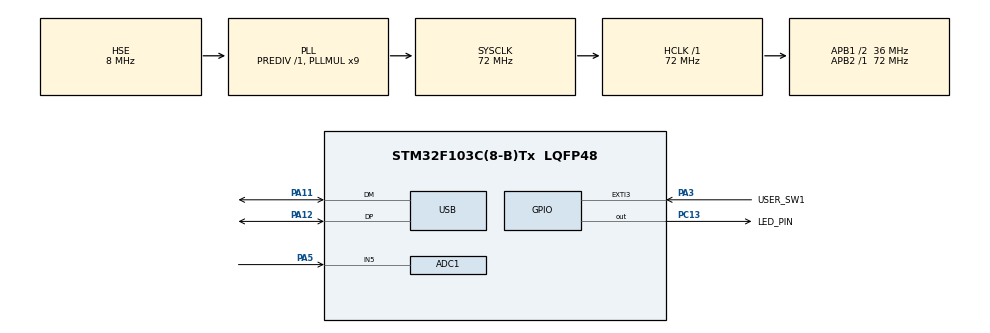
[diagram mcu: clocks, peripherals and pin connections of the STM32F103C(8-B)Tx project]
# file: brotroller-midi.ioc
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ADC1.Channel-1\#ChannelRegularConversion=ADC_CHANNEL_5
ADC1.ContinuousConvMode=DISABLE
ADC1.DataAlign=ADC_DATAALIGN_RIGHT
ADC1.EnableRegularConversion=ENABLE
ADC1.ExternalTrigConv=ADC_EXTERNALTRIGCONV_T3_TRGO
ADC1.NbrOfConversionFlag=1
ADC1.Rank-1\#ChannelRegularConversion=1
ADC1.SamplingTime-1\#ChannelRegularConversion=ADC_SAMPLETIME_239CYCLES_5
ADC1.master=1
Dma.ADC1.0.Direction=DMA_PERIPH_TO_MEMORY
Dma.ADC1.0.Instance=DMA1_Channel1
Dma.ADC1.0.MemDataAlignment=DMA_MDATAALIGN_HALFWORD
Dma.ADC1.0.MemInc=DMA_MINC_ENABLE
Dma.ADC1.0.Mode=DMA_CIRCULAR
Dma.ADC1.0.PeriphDataAlignment=DMA_PDATAALIGN_HALFWORD
Dma.ADC1.0.PeriphInc=DMA_PINC_DISABLE
Dma.ADC1.0.Priority=DMA_PRIORITY_LOW
Dma.Request0=ADC1
Mcu.Family=STM32F1
Mcu.Name=STM32F103C(8-B)Tx
Mcu.Package=LQFP48
NVIC.ADC1_2_IRQn=true\:0\:0\:false\:false\:true\:true\:true
NVIC.DMA1_Channel1_IRQn=true\:0\:0\:false\:false\:true\:false\:true
NVIC.EXTI3_IRQn=true\:0\:0\:false\:false\:true\:true\:true
NVIC.PriorityGroup=NVIC_PRIORITYGROUP_4
NVIC.TIM3_IRQn=true\:0\:0\:false\:false\:true\:true\:true
NVIC.USB_LP_CAN1_RX0_IRQn=true\:0\:0\:false\:false\:true\:false\:true
PA11.Mode=Device
PA11.Signal=USB_DM
PA12.Mode=Device
PA12.Signal=USB_DP
PA13.Mode=Trace_Asynchronous_SW
PA13.Signal=SYS_JTMS-SWDIO
PA14.Mode=Trace_Asynchronous_SW
PA14.Signal=SYS_JTCK-SWCLK
PA3.GPIO_Label=USER_SW1
PA3.GPIO_PuPd=GPIO_PULLUP
PA3.Signal=GPXTI3
PA5.Signal=ADCx_IN5
PB3.Mode=Trace_Asynchronous_SW
PB3.Signal=SYS_JTDO-TRACESWO
PC13-TAMPER-RTC.GPIO_Label=LED_PIN
PC13-TAMPER-RTC.GPIO_Speed=GPIO_SPEED_FREQ_LOW
PC13-TAMPER-RTC.Signal=GPIO_Output
PC14-OSC32_IN.Mode=LSE-External-Oscillator
PC14-OSC32_IN.Signal=RCC_OSC32_IN
PC15-OSC32_OUT.Mode=LSE-External-Oscillator
PC15-OSC32_OUT.Signal=RCC_OSC32_OUT
PD0-OSC_IN.Mode=HSE-External-Oscillator
PD0-OSC_IN.Signal=RCC_OSC_IN
PD1-OSC_OUT.Mode=HSE-External-Oscillator
PD1-OSC_OUT.Signal=RCC_OSC_OUT
ProjectManager.HeapSize=0x200
ProjectManager.StackSize=0x400
ProjectManager.TargetToolchain=Makefile
RCC.ADCPresc=RCC_ADCPCLK2_DIV6
RCC.AHBFreq_Value=72000000
RCC.APB1CLKDivider=RCC_HCLK_DIV2
RCC.APB1Freq_Value=36000000
RCC.APB1TimFreq_Value=72000000
RCC.APB2Freq_Value=72000000
RCC.APB2TimFreq_Value=72000000
RCC.HCLKFreq_Value=72000000
RCC.PLLMUL=RCC_PLL_MUL9
RCC.SYSCLKFreq_VALUE=72000000
RCC.SYSCLKSource=RCC_SYSCLKSOURCE_PLLCLK
RCC.USBFreq_Value=48000000
RCC.USBPrescaler=RCC_USBCLKSOURCE_PLL_DIV1_5
SH.ADCx_IN5.0=ADC1_IN5,IN5
TIM3.AutoReloadPreload=TIM_AUTORELOAD_PRELOAD_DISABLE
TIM3.ClockDivision=TIM_CLOCKDIVISION_DIV1
TIM3.Period=200-1
TIM3.Prescaler=36000-1
TIM3.TIM_MasterOutputTrigger=TIM_TRGO_UPDATE
USB_DEVICE.CLASS_NAME_FS=CUSTOM_HID
USB_DEVICE.CONFIGURATION_STRING_CUSTOMHID_FS=Brotroller Config
USB_DEVICE.INTERFACE_STRING_CUSTOMHID_FS=Brotroller Interface
USB_DEVICE.MANUFACTURER_STRING=Beowulf20
USB_DEVICE.PID_CUSTOMHID_FS=8462
USB_DEVICE.PRODUCT_STRING_CUSTOMHID_FS=Brotroller MIDI 
USB_DEVICE.VID=1231
USB_DEVICE.VirtualMode=CustomHid
USB_DEVICE.VirtualModeFS=Custom_Hid_FS
VP_TIM3_VS_ClockSourceINT.Mode=Internal
VP_TIM4_VS_ClockSourceINT.Mode=Internal
VP_USB_DEVICE_VS_USB_DEVICE_CUSTOM_HID_FS.Mode=CUSTOM_HID_FS
board=custom

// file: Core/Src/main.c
/* USER CODE BEGIN Header */
/**
  ******************************************************************************
  * @file           : main.c
  * @brief          : Main program body
  ******************************************************************************
  * @attention
  *
  * <h2><center>&copy; Copyright (c) 2021 STMicroelectronics.
  * All rights reserved.</center></h2>
  *
  * This software component is licensed by ST under BSD 3-Clause license,
  * the "License"; You may not use this file except in compliance with the
  * License. You may obtain a copy of the License at:
  *                        opensource.org/licenses/BSD-3-Clause
  *
  ******************************************************************************
  */
/* USER CODE END Header */
#include "main.h"
#include "usb_device.h"

/* USER CODE BEGIN Includes */
#include <stdio.h>
#define NANOPRINTF_IMPLEMENTATION
#include "nanoprintf.h"
#include "core_cm3.h"
/* USER CODE END Includes */

/* USER CODE BEGIN PD */
#define ARRAY_SIZE(x) sizeof(x)/sizeof(x[0])
/* USER CODE END PD */

ADC_HandleTypeDef hadc1;
DMA_HandleTypeDef hdma_adc1;

TIM_HandleTypeDef htim3;
TIM_HandleTypeDef htim4;

/* USER CODE BEGIN PV */
volatile uint16_t adc_data[1] = { 0 };

void itm_print_cb(int c, void* ctx) {
  ITM_SendChar(c);
}

/* USER CODE END PV */

void SystemClock_Config(void);
static void MX_GPIO_Init(void);
static void MX_DMA_Init(void);
static void MX_ADC1_Init(void);
static void MX_TIM3_Init(void);
static void MX_TIM4_Init(void);

/* USER CODE BEGIN 0 */
uint32_t u32Cap(uint32_t n, uint32_t max, uint32_t min) {
  if (n < min)   return min;
  if (n > max) return max;
  return n;
}
void ITM_SendValue(int port, uint32_t value) {
  if ((ITM->TCR & ITM_TCR_ITMENA_Msk) && (ITM->TER & (1UL << port))) {
    while (ITM->PORT[port].u32 == 0);
    ITM->PORT[port].u32 = value;
  }
}

/* USER CODE END 0 */

int main(void) {

  /* MCU Configuration--------------------------------------------------------*/

  /* Reset of all peripherals, Initializes the Flash interface and the Systick. */
  HAL_Init();

  /* Configure the system clock */
  SystemClock_Config();

  /* Initialize all configured peripherals */
  MX_GPIO_Init();
  MX_DMA_Init();
  MX_ADC1_Init();
  MX_USB_DEVICE_Init();
  MX_TIM3_Init();
  MX_TIM4_Init();

  /* Infinite loop */
  /* USER CODE BEGIN WHILE */
  HAL_ADCEx_Calibration_Start(&hadc1);
  HAL_ADC_Start_DMA(&hadc1, (uint32_t*) adc_data, ARRAY_SIZE(adc_data));
  HAL_TIM_Base_Start_IT(&htim3);
  HAL_TIM_Base_Start(&htim4);
  while (1) {
    /* USER CODE END WHILE */

    /* USER CODE BEGIN 3 */
    ITM_SendValue(0, (uint32_t) adc_data[0]);
    ITM_SendValue(1, (uint32_t) HAL_GPIO_ReadPin(USER_SW1_GPIO_Port, USER_SW1_Pin));
    HAL_Delay(100);
  }
  /* USER CODE END 3 */
}

void SystemClock_Config(void) {
  RCC_OscInitTypeDef RCC_OscInitStruct = { 0 };
  RCC_ClkInitTypeDef RCC_ClkInitStruct = { 0 };
  RCC_PeriphCLKInitTypeDef PeriphClkInit = { 0 };

  /** Initializes the RCC Oscillators according to the specified parameters
  * in the RCC_OscInitTypeDef structure.
  */
  RCC_OscInitStruct.OscillatorType = RCC_OSCILLATORTYPE_HSE;
  RCC_OscInitStruct.HSEState = RCC_HSE_ON;
  RCC_OscInitStruct.HSEPredivValue = RCC_HSE_PREDIV_DIV1;
  RCC_OscInitStruct.HSIState = RCC_HSI_ON;
  RCC_OscInitStruct.PLL.PLLState = RCC_PLL_ON;
  RCC_OscInitStruct.PLL.PLLSource = RCC_PLLSOURCE_HSE;
  RCC_OscInitStruct.PLL.PLLMUL = RCC_PLL_MUL9;
  if (HAL_RCC_OscConfig(&RCC_OscInitStruct) != HAL_OK) {
    Error_Handler();
  }
  /** Initializes the CPU, AHB and APB buses clocks
  */
  RCC_ClkInitStruct.ClockType = RCC_CLOCKTYPE_HCLK | RCC_CLOCKTYPE_SYSCLK
    | RCC_CLOCKTYPE_PCLK1 | RCC_CLOCKTYPE_PCLK2;
  RCC_ClkInitStruct.SYSCLKSource = RCC_SYSCLKSOURCE_PLLCLK;
  RCC_ClkInitStruct.AHBCLKDivider = RCC_SYSCLK_DIV1;
  RCC_ClkInitStruct.APB1CLKDivider = RCC_HCLK_DIV2;
  RCC_ClkInitStruct.APB2CLKDivider = RCC_HCLK_DIV1;

  if (HAL_RCC_ClockConfig(&RCC_ClkInitStruct, FLASH_LATENCY_2) != HAL_OK) {
    Error_Handler();
  }
  PeriphClkInit.PeriphClockSelection = RCC_PERIPHCLK_ADC | RCC_PERIPHCLK_USB;
  PeriphClkInit.AdcClockSelection = RCC_ADCPCLK2_DIV6;
  PeriphClkInit.UsbClockSelection = RCC_USBCLKSOURCE_PLL_DIV1_5;
  if (HAL_RCCEx_PeriphCLKConfig(&PeriphClkInit) != HAL_OK) {
    Error_Handler();
  }
}

static void MX_ADC1_Init(void) {

  ADC_ChannelConfTypeDef sConfig = { 0 };

  /** Common config
  */
  hadc1.Instance = ADC1;
  hadc1.Init.ScanConvMode = ADC_SCAN_DISABLE;
  hadc1.Init.ContinuousConvMode = DISABLE;
  hadc1.Init.DiscontinuousConvMode = DISABLE;
  hadc1.Init.ExternalTrigConv = ADC_EXTERNALTRIGCONV_T3_TRGO;
  hadc1.Init.DataAlign = ADC_DATAALIGN_RIGHT;
  hadc1.Init.NbrOfConversion = 1;
  if (HAL_ADC_Init(&hadc1) != HAL_OK) {
    Error_Handler();
  }
  /** Configure Regular Channel
  */
  sConfig.Channel = ADC_CHANNEL_5;
  sConfig.Rank = ADC_REGULAR_RANK_1;
  sConfig.SamplingTime = ADC_SAMPLETIME_239CYCLES_5;
  if (HAL_ADC_ConfigChannel(&hadc1, &sConfig) != HAL_OK) {
    Error_Handler();
  }

}

static void MX_TIM3_Init(void) {

  TIM_ClockConfigTypeDef sClockSourceConfig = { 0 };
  TIM_MasterConfigTypeDef sMasterConfig = { 0 };

  htim3.Instance = TIM3;
  htim3.Init.Prescaler = 36000 - 1;
  htim3.Init.CounterMode = TIM_COUNTERMODE_UP;
  htim3.Init.Period = 200 - 1;
  htim3.Init.ClockDivision = TIM_CLOCKDIVISION_DIV1;
  htim3.Init.AutoReloadPreload = TIM_AUTORELOAD_PRELOAD_DISABLE;
  if (HAL_TIM_Base_Init(&htim3) != HAL_OK) {
    Error_Handler();
  }
  sClockSourceConfig.ClockSource = TIM_CLOCKSOURCE_INTERNAL;
  if (HAL_TIM_ConfigClockSource(&htim3, &sClockSourceConfig) != HAL_OK) {
    Error_Handler();
  }
  sMasterConfig.MasterOutputTrigger = TIM_TRGO_UPDATE;
  sMasterConfig.MasterSlaveMode = TIM_MASTERSLAVEMODE_DISABLE;
  if (HAL_TIMEx_MasterConfigSynchronization(&htim3, &sMasterConfig) != HAL_OK) {
    Error_Handler();
  }

}

static void MX_TIM4_Init(void) {

  TIM_ClockConfigTypeDef sClockSourceConfig = { 0 };
  TIM_MasterConfigTypeDef sMasterConfig = { 0 };

  htim4.Instance = TIM4;
  htim4.Init.Prescaler = 0;
  htim4.Init.CounterMode = TIM_COUNTERMODE_UP;
  htim4.Init.Period = 65535;
  htim4.Init.ClockDivision = TIM_CLOCKDIVISION_DIV1;
  htim4.Init.AutoReloadPreload = TIM_AUTORELOAD_PRELOAD_DISABLE;
  if (HAL_TIM_Base_Init(&htim4) != HAL_OK) {
    Error_Handler();
  }
  sClockSourceConfig.ClockSource = TIM_CLOCKSOURCE_INTERNAL;
  if (HAL_TIM_ConfigClockSource(&htim4, &sClockSourceConfig) != HAL_OK) {
    Error_Handler();
  }
  sMasterConfig.MasterOutputTrigger = TIM_TRGO_RESET;
  sMasterConfig.MasterSlaveMode = TIM_MASTERSLAVEMODE_DISABLE;
  if (HAL_TIMEx_MasterConfigSynchronization(&htim4, &sMasterConfig) != HAL_OK) {
    Error_Handler();
  }

}

static void MX_DMA_Init(void) {

  /* DMA controller clock enable */
  __HAL_RCC_DMA1_CLK_ENABLE();

  /* DMA interrupt init */
  /* DMA1_Channel1_IRQn interrupt configuration */
  HAL_NVIC_SetPriority(DMA1_Channel1_IRQn, 0, 0);
  HAL_NVIC_EnableIRQ(DMA1_Channel1_IRQn);

}

static void MX_GPIO_Init(void) {
  GPIO_InitTypeDef GPIO_InitStruct = { 0 };

  /* GPIO Ports Clock Enable */
  __HAL_RCC_GPIOC_CLK_ENABLE();
  __HAL_RCC_GPIOD_CLK_ENABLE();
  __HAL_RCC_GPIOA_CLK_ENABLE();
  __HAL_RCC_GPIOB_CLK_ENABLE();

  /*Configure GPIO pin Output Level */
  HAL_GPIO_WritePin(LED_PIN_GPIO_Port, LED_PIN_Pin, GPIO_PIN_RESET);

  /*Configure GPIO pin : LED_PIN_Pin */
  GPIO_InitStruct.Pin = LED_PIN_Pin;
  GPIO_InitStruct.Mode = GPIO_MODE_OUTPUT_PP;
  GPIO_InitStruct.Pull = GPIO_NOPULL;
  GPIO_InitStruct.Speed = GPIO_SPEED_FREQ_LOW;
  HAL_GPIO_Init(LED_PIN_GPIO_Port, &GPIO_InitStruct);

  /*Configure GPIO pin : USER_SW1_Pin */
  GPIO_InitStruct.Pin = USER_SW1_Pin;
  GPIO_InitStruct.Mode = GPIO_MODE_IT_RISING;
  GPIO_InitStruct.Pull = GPIO_PULLUP;
  HAL_GPIO_Init(USER_SW1_GPIO_Port, &GPIO_InitStruct);

  /* EXTI interrupt init*/
  HAL_NVIC_SetPriority(EXTI3_IRQn, 0, 0);
  HAL_NVIC_EnableIRQ(EXTI3_IRQn);

}

/* USER CODE BEGIN 4 */
void HAL_ADC_ConvCpltCallback(ADC_HandleTypeDef* hadc) {
  /* This is called after the conversion is completed */
  HAL_GPIO_TogglePin(LED_PIN_GPIO_Port, LED_PIN_Pin);
}

/* USER CODE END 4 */

void Error_Handler(void) {
  __disable_irq();
  while (1) {
  }
}

/************************ (C) COPYRIGHT STMicroelectronics *****END OF FILE****/
